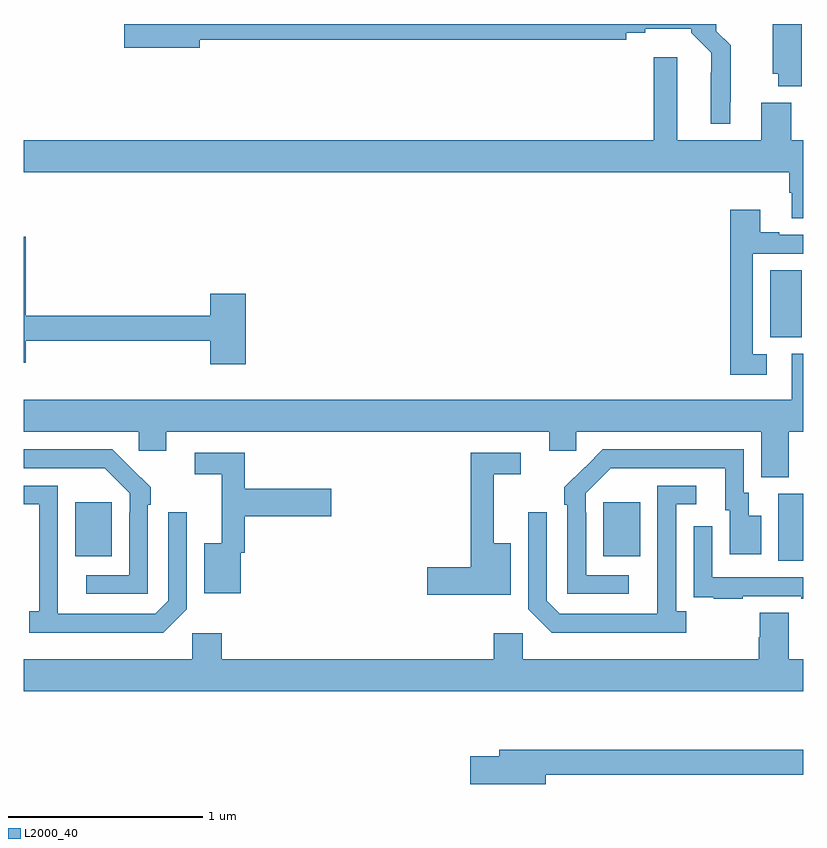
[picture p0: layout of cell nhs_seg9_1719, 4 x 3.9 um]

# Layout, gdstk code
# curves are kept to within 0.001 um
import gdstk
lib = gdstk.Library(unit=1e-6, precision=1e-09)
def R(c, l, rs):  # rectangles x0, y0, x1, y1
    for r in rs: c.add(gdstk.rectangle(r[:2], r[2:], *l))
def P(c, l, *ps):  # polygons
    for p in ps: c.add(gdstk.Polygon(p, *l))
L2000_40 = (2000, 40)

nhs_seg9_1719 = lib.new_cell('nhs_seg9_1719')
R(nhs_seg9_1719, L2000_40, [(210.872,1207.744,211,1208.088), (207.263,1207.769,207.451,1208.044), (209.975,1207.769,210.163,1208.044), (210.83,1208.893,210.994,1209.236)])
P(nhs_seg9_1719, L2000_40, [(210.994,1210.5),(210.845,1210.5),(210.845,1210.245),(210.872,1210.245),(210.872,1210.181),(210.994,1210.181)],
  [(210.625,1210.099),(210.629,1210.099),(210.629,1210.39),(210.555,1210.464),(210.555,1210.5),(207.516,1210.5),(207.516,1210.378),(207.904,1210.378),(207.904,1210.42),(210.093,1210.42),(210.093,1210.456),(210.19,1210.456),(210.19,1210.475),(210.426,1210.475),(210.426,1210.454),(210.528,1210.352),(210.527,1209.989),(210.625,1209.989)],
  [(211,1209.904),(210.938,1209.904),(210.938,1210.096),(210.785,1210.096),(210.785,1209.904),(210.355,1209.904),(210.355,1210.33),(210.233,1210.33),(210.233,1209.904),(207,1209.904),(207,1209.74),(210.929,1209.74),(210.929,1209.634),(210.941,1209.634),(210.941,1209.502),(211,1209.502)],
  [(210.814,1208.805),(210.741,1208.805),(210.741,1209.321),(211,1209.321),(211,1209.417),(210.877,1209.417),(210.877,1209.43),(210.781,1209.43),(210.781,1209.547),(210.625,1209.547),(210.625,1208.7),(210.814,1208.7)],
  [(208.139,1209.115),(207.956,1209.115),(207.956,1209.002),(207.011,1209.002),(207.011,1209.409),(207,1209.409),(207,1208.76),(207.011,1208.76),(207.011,1208.874),(207.956,1208.874),(207.956,1208.754),(208.139,1208.754)],
  [(210.925,1208.408),(211,1208.408),(211,1208.808),(210.941,1208.808),(210.941,1208.572),(207,1208.572),(207,1208.408),(207.591,1208.408),(207.591,1208.31),(207.73,1208.31),(207.73,1208.408),(209.696,1208.408),(209.696,1208.31),(209.835,1208.31),(209.835,1208.408),(210.785,1208.408),(210.785,1208.173),(210.925,1208.173)],
  [(207.636,1208.033),(207.651,1208.033),(207.651,1208.121),(207.454,1208.316),(207,1208.316),(207,1208.22),(207.415,1208.22),(207.543,1208.091),(207.543,1207.991),(207.54,1207.991),(207.54,1207.671),(207.321,1207.671),(207.321,1207.575),(207.636,1207.575)],
  [(210.106,1207.671),(209.886,1207.671),(209.886,1207.991),(209.883,1207.991),(209.883,1208.091),(210.012,1208.22),(210.599,1208.22),(210.599,1208.004),(210.623,1208.004),(210.623,1207.779),(210.784,1207.779),(210.784,1207.975),(210.721,1207.975),(210.721,1208.094),(210.696,1208.094),(210.696,1208.316),(209.972,1208.316),(209.775,1208.121),(209.775,1208.033),(209.79,1208.033),(209.79,1207.575),(210.106,1207.575)],
  [(208.114,1207.785),(208.133,1207.785),(208.133,1207.973),(208.579,1207.973),(208.579,1208.115),(208.133,1208.115),(208.133,1208.298),(207.876,1208.298),(207.876,1208.19),(208.016,1208.19),(208.016,1207.834),(207.926,1207.834),(207.926,1207.577),(208.114,1207.577)],
  [(209.5,1207.834),(209.411,1207.834),(209.411,1208.19),(209.551,1208.19),(209.551,1208.298),(209.293,1208.298),(209.293,1207.712),(209.07,1207.712),(209.07,1207.57),(209.5,1207.57)],
  [(207.837,1207.497),(207.837,1207.993),(207.741,1207.993),(207.741,1207.539),(207.675,1207.473),(207.175,1207.473),(207.174,1208.13),(207,1208.13),(207,1208.034),(207.078,1208.034),(207.078,1207.486),(207.027,1207.486),(207.027,1207.376),(207.716,1207.376)],
  [(210.4,1207.486),(210.348,1207.486),(210.348,1208.034),(210.451,1208.034),(210.451,1208.13),(210.252,1208.13),(210.251,1207.473),(209.751,1207.473),(209.685,1207.539),(209.685,1207.993),(209.589,1207.993),(209.589,1207.497),(209.71,1207.376),(210.4,1207.376)],
  [(210.689,1207.563),(210.989,1207.563),(210.989,1207.551),(211,1207.551),(211,1207.659),(210.534,1207.659),(210.534,1207.921),(210.438,1207.921),(210.438,1207.666),(210.439,1207.666),(210.439,1207.557),(210.541,1207.557),(210.541,1207.551),(210.689,1207.551)],
  [(211,1207.24),(210.925,1207.24),(210.925,1207.478),(210.778,1207.478),(210.778,1207.353),(210.773,1207.353),(210.773,1207.24),(209.562,1207.24),(209.562,1207.372),(209.411,1207.372),(209.411,1207.24),(208.016,1207.24),(208.016,1207.372),(207.864,1207.372),(207.864,1207.24),(207,1207.24),(207,1207.076),(211,1207.076)],
  [(209.68,1206.646),(211,1206.646),(211,1206.775),(209.441,1206.775),(209.441,1206.741),(209.292,1206.741),(209.292,1206.599),(209.68,1206.599)])

lib.write_gds('nhs_seg9_1719.gds')
